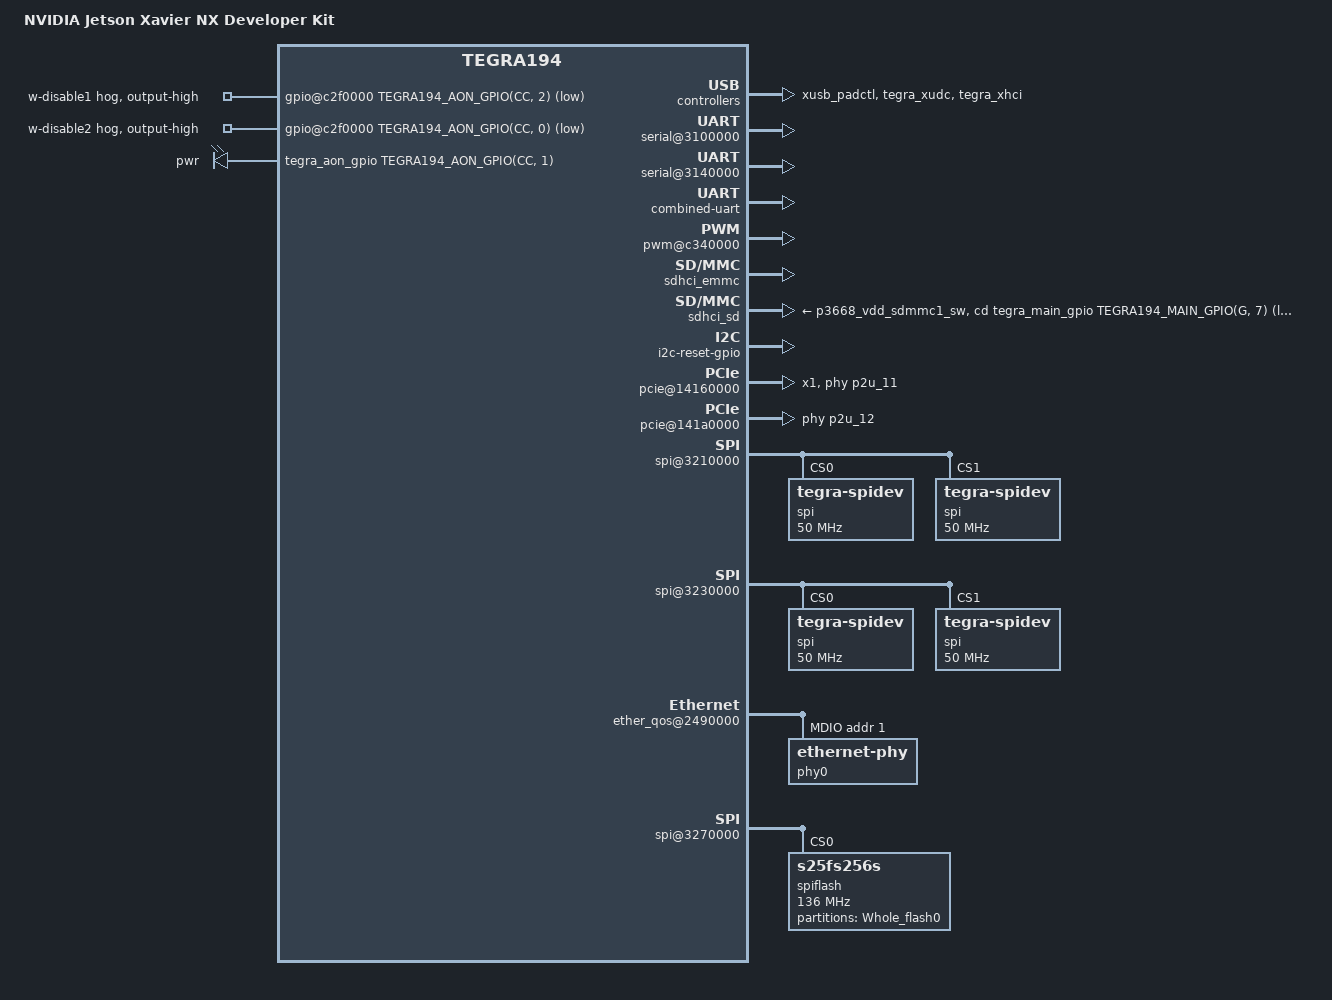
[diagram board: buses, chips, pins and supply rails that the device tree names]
/*
 * Common include DTS file for CVM:P3668-0001 and CVB:P3449-0000 variants.
 *
 * Copyright (c) 2019-2020 , NVIDIA CORPORATION.  All rights reserved.
 *
 * This program is free software; you can redistribute it and/or modify
 * it under the terms of the GNU General Public License as published by
 * the Free Software Foundation; version 2 of the License.
 *
 * This program is distributed in the hope that it will be useful, but WITHOUT
 * ANY WARRANTY; without even the implied warranty of MERCHANTABILITY or
 * FITNESS FOR A PARTICULAR PURPOSE.  See the GNU General Public License for
 * more details.
 */

#include "dt-bindings/extcon-ids.h"
#include "dt-bindings/gpio/tegra194-gpio.h"
#include <dt-bindings/pwm/pwm.h>
#include <tegra194-soc/tegra194-soc-cvm.dtsi>
#include "tegra194-fixed-regulator-p3668.dtsi"
#include <t19x-common-platforms/tegra194-comms.dtsi>
#include <t19x-common-platforms/tegra194-platforms-eqos.dtsi>
#include "tegra194-powermon-p3668.dtsi"
#include "tegra194-power-tree-p3668.dtsi"
#include "tegra194-thermal-p3668.dtsi"
#include <t19x-common-platforms/tegra194-no-pll-aon-clock.dtsi>
#include "tegra194-p3668-pcie-plugin-manager.dtsi"
#include "tegra194-plugin-manager-p3668.dtsi"

/ {
	nvidia,fastboot-usb-vid = <0x0955>;
	nvidia,fastboot-usb-pid = <0xee1e>;
	model = "NVIDIA Jetson Xavier NX Developer Kit";

	chosen {
		bootargs ="console=ttyTCU0,115200";
		board-has-eeprom;
		nvidia,tegra-joint_xpu_rail;
	};

	cpufreq {
		compatible = "nvidia,tegra194-cpufreq";
		status = "okay";
		cpu_emc_map = <1907200 1600000>,
			    <1881600 800000>,
			    <1574400 665000>,
			    <1267200 408000>;
	};

	pmc@c370000 {
		nvidia,invert-interrupt;
	};

        pmc@c360000 {
                 iopad_defaults: iopad-defaults {
                         sdmmc-io-pads {
                                 pins = "sdmmc1-hv", "sdmmc3-hv";
                                 nvidia,enable-voltage-switching;
                         };
                 };
         };

	hdr40_i2c0: i2c@c240000 {
		/* This I2C (GEN2) is routed only to 40-pin hdr
		 * Not being used in Jakku CVM/CVB/Porg-base-board
		 * it seems "ucsi_ccg" for USB-TypeC which is not supported by Jakku */
		bmi160@69 {
			compatible = "bmi,bmi160";
			reg = <0x69>;
			interrupt-parent = <&tegra_aon_gpio>;
			interrupts = <TEGRA194_AON_GPIO(AA, 2) GPIO_ACTIVE_LOW>;
			accelerometer_matrix    = [01 00 00 00 01 00 00 00 01];
			gyroscope_matrix        = [01 00 00 00 01 00 00 00 01];
			accelerometer_delay_us_min = <1250>;
			gyroscope_delay_us_min = <1250>;
			status = "disabled";
		};
	};

	external-connection {
		vbus_id_extcon: extcon@1 {
			compatible = "extcon-gpio-states";
			reg = <0x1>;
			extcon-gpio,name = "VBUS";
			extcon-gpio,cable-states = <
						0x0 0x1
						0x1 0x0>;
			gpios = <&tegra_main_gpio TEGRA194_MAIN_GPIO(Z, 1) 0>;
			extcon-gpio,out-cable-names = <EXTCON_USB EXTCON_USB_HOST EXTCON_NONE>;
			wakeup-source;
			#extcon-cells = <1>;
		};
	};

	xusb_padctl: xusb_padctl@3520000 {
		status = "okay";

		pads {
			usb2 {
				lanes {
					usb2-0 {
						nvidia,function = "xusb";
						status = "okay";
					};
					usb2-1 {
						nvidia,function = "xusb";
						status = "okay";
					};
					usb2-2 {
						nvidia,function = "xusb";
						status = "okay";
					};
				};
			};
			usb3 {
				lanes {
					usb3-2 {
						nvidia,function = "xusb";
						status = "okay";
					};
				};
			};
		};

		ports {
			usb2-0 {
				mode = "otg";
				status = "okay";
			};
			usb2-1 {
				mode = "host";
				status = "okay";
			};
			usb2-2 {
				mode = "host";
				vbus-supply = <&battery_reg>;
				status = "okay";
			};
			usb3-2 {
				nvidia,usb2-companion = <1>;
				status = "okay";
			};
		};
	};

	tegra_xudc: xudc@3550000 {
		extcon-cables = <&vbus_id_extcon 0>;
		extcon-cable-names = "vbus";
		#extcon-cells = <1>;
		phys = <&{/xusb_padctl@3520000/pads/usb2/lanes/usb2-0}>;
		phy-names = "usb2";
		nvidia,xusb-padctl = <&xusb_padctl>;
		nvidia,boost_cpu_freq = <1200>;
		status = "okay";
	};

	tegra_xhci: xhci@3610000 {
		extcon-cables = <&vbus_id_extcon 1>;
		extcon-cable-names = "id";
		#extcon-cells = <1>;
		phys = <&{/xusb_padctl@3520000/pads/usb2/lanes/usb2-0}>,
			<&{/xusb_padctl@3520000/pads/usb2/lanes/usb2-1}>,
			<&{/xusb_padctl@3520000/pads/usb2/lanes/usb2-2}>,
			<&{/xusb_padctl@3520000/pads/usb3/lanes/usb3-2}>;
		phy-names = "usb2-0", "usb2-1", "usb2-2", "usb3-2";
		nvidia,xusb-padctl = <&xusb_padctl>;
		status = "okay";
	};

	/* Below node can be moved to cvb to make decision about enabling/disabling */
	arm-pmu {
		status = "okay";
	};

	power-domain {
		status = "okay";
	};

	interrupt-controller {
		status = "okay";
	};

	mods-simple-bus {
		status = "okay";
	};

	cpuidle {
		compatible = "nvidia,tegra19x-cpuidle";
		status = "okay";
	};

	thermal-zones {
		status = "okay";
	};

	reserved-memory {
		ramoops_carveout {
			status = "okay";
		};
	};

	mttcan@c310000 {
		status = "okay";
		pll_source = "pllc";
		clocks = <&bpmp_clks TEGRA194_CLK_CAN1_CORE>,
			<&bpmp_clks TEGRA194_CLK_CAN1_HOST>,
			<&bpmp_clks TEGRA194_CLK_CAN1>,
			<&bpmp_clks TEGRA194_CLK_PLLC>;
		clock-names = "can_core", "can_host","can", "pllc";
	};

	mttcan@c320000 {
		status = "disabled";
	};

	host1x {
		dpaux@155F0000 {
			status = "okay";
			compatible = "nvidia,tegra194-dpaux3-padctl";
			/delete-property/ power-domains;
			dpaux_default: pinmux@0 {
				dpaux3_pins {
					pins = "dpaux3-3";
					function = "i2c";
				};
			};
		};
	};

	hardwood {
		compatible = "nvidia,denver-hardwood";
		interrupts = <0 24 0x4>;
	};

	pfsd {
		pwm_polarity= <PWM_POLARITY_NORMAL>;
		suspend_state = <0>;
	};

	serial@3100000 {
		compatible = "nvidia,tegra186-hsuart";
		status = "okay";
	};

	serial@3140000 {
		compatible = "nvidia,tegra186-hsuart";
		status = "okay";
	};

	combined-uart {
		console-port;
		combined-uart;
		status = "okay";
	};

	pwm@c340000 {
		status = "okay";
	};

	sdhci_emmc: sdhci@3460000 {
		uhs-mask = <0x0>;
		nvidia,enable-hwcq;
		status = "okay";
	};

	sdhci_sd: sdhci@3400000 {
		mmc-ocr-mask = <0x0>;
		cd-inverted;
		cd-gpios = <&tegra_main_gpio TEGRA194_MAIN_GPIO(G, 7) 0>;
		nvidia,cd-wakeup-capable;
		mmc-ocr-mask = <0>;
		cd-inverted;
		vmmc-supply = <&p3668_vdd_sdmmc1_sw>;
		status = "okay";
	};

	mipical@3990000 {
		status = "okay";
	};

	tegra-hsp@b950000 {
		status = "okay";
	};

	rtcpu@bc00000 {
		status = "okay";
		nvidia,cmd-timeout = <2000>;
	};

	gpio@c2f0000 {
		pex-refclk-sel-low {
			gpio-hog;
			output-low;
			gpios = <TEGRA194_AON_GPIO(AA, 5) 0>;
			label = "pex_refclk_sel_low";
			status = "disabled";
		};

		pex-refclk-sel-high {
			gpio-hog;
			output-high;
			gpios = <TEGRA194_AON_GPIO(AA, 5) 0>;
			label = "pex_refclk_sel_high";
			status = "disabled";
		};
		w-disable1 {
			gpio-hog;
			output-high;
			gpios = <TEGRA194_AON_GPIO(CC, 2) GPIO_ACTIVE_LOW>;
			label = "w-disable1";
			status = "okay";
		};
		w-disable2 {
			gpio-hog;
			output-high;
			gpios = <TEGRA194_AON_GPIO(CC, 0) GPIO_ACTIVE_LOW>;
			label = "w-disable2";
			status = "okay";
		};

//		suspend_gpio: suspend-led-gpio {
//			gpio-hog;
//			output-high;
//			gpio-suspend;
//			suspend-output-low;
//			gpios = <TEGRA194_AON_GPIO(CC, 1) GPIO_ACTIVE_HIGH>;
//			label = "suspend-led-gpio";
//			status = "okay";
//		};

		i2c-reset-gpio {
			gpio-hog;
			output-low;
			gpios = <TEGRA194_AON_GPIO(CC, 1) GPIO_ACTIVE_HIGH>;
			label = "i2c-reset-gpio";
			status = "okay";
		};
	};

	pcie@14160000 {
		status = "okay";

		nvidia,pex-wake = <&tegra_main_gpio TEGRA194_MAIN_GPIO(L, 2)
					GPIO_ACTIVE_HIGH>;
		vddio-pex-ctl-supply = <&p3668_spmic_sd3>;
		nvidia,disable-aspm-states = <0xf>;
		nvidia,enable-power-down;
		nvidia,max-speed = <3>;

		num-lanes = <1>;
		phys = <&p2u_11>;
		phy-names = "pcie-p2u-0";
	};

	pcie@141a0000 {
		status = "okay";

		vddio-pex-ctl-supply = <&p3668_spmic_sd3>;
		nvidia,disable-aspm-states = <0xf>;
		nvidia,enable-power-down;
		nvidia,max-speed = <4>;

		phys = <&p2u_12>,
		       <&p2u_13>,
		       <&p2u_14>,
		       <&p2u_15>,
		       <&p2u_16>,
		       <&p2u_17>,
		       <&p2u_18>,
		       <&p2u_19>;

		phy-names = "pcie-p2u-0", "pcie-p2u-1", "pcie-p2u-2", "pcie-p2u-3",
					"pcie-p2u-4", "pcie-p2u-5", "pcie-p2u-6", "pcie-p2u-7";
	};

	pcie_ep@141a0000 {
		status = "disabled";

		nvidia,disable-aspm-states = <0xf>;

		vddio-pex-ctl-supply = <&p3668_spmic_sd3>;

		phys = <&p2u_12>, <&p2u_13>, <&p2u_14>, <&p2u_15>,
			<&p2u_16>, <&p2u_17>, <&p2u_18>, <&p2u_19>;
		phy-names = "pcie-p2u-0", "pcie-p2u-1", "pcie-p2u-2", "pcie-p2u-3",
				"pcie-p2u-4", "pcie-p2u-5", "pcie-p2u-6", "pcie-p2u-7";

		nvidia,pex-rst-gpio = <&tegra_main_gpio TEGRA194_MAIN_GPIO(GG, 1)
					GPIO_ACTIVE_LOW>;
	};

	eeprom-manager {
		data-size = <0x100>;
		bus@0 {
			i2c-bus = <&gen1_i2c>;
			eeprom@0 {
				slave-address = <0x50>;
				label = "cvm";
			};
		};
	};

	hdr40_i2c1: i2c@31e0000 {
		pinctrl-names = "default";
		pinctrl-0 = <&dpaux_default>;
	};

	host1x {
		dpaux@155F0000 {
			status = "okay";
			compatible = "nvidia,tegra194-dpaux3-padctl";
			dpaux_default: pinmux@0 {
				dpaux3_pins {
					pins = "dpaux3-3";
					function = "i2c";
				};
			};
		};
	};

	dpaux3 {
		compatible = "nvidia,tegra194-dpaux3-pinctrl";
		status = "okay";
	};

	spi@3210000{ /* SPI1 in 40 pin conn */
		status = "okay";
		spi@0 { /* chip select 0 */
			compatible = "tegra-spidev";
			reg = <0x0>;
			spi-max-frequency = <50000000>;
			controller-data {
				nvidia,enable-hw-based-cs;
				nvidia,rx-clk-tap-delay = <0x10>;
				nvidia,tx-clk-tap-delay = <0x0>;
			};
		};
		spi@1 { /* chip select 1 */
			compatible = "tegra-spidev";
			reg = <0x1>;
			spi-max-frequency = <50000000>;
			controller-data {
				nvidia,enable-hw-based-cs;
				nvidia,rx-clk-tap-delay = <0x10>;
				nvidia,tx-clk-tap-delay = <0x0>;
			};
		};
	};

	spi@3230000{ /* SPI3 in 40 pin conn */
		status = "okay";
		spi@0 { /* chip select 0 */
			compatible = "tegra-spidev";
			reg = <0x0>;
			spi-max-frequency = <50000000>;
			controller-data {
				nvidia,enable-hw-based-cs;
				nvidia,rx-clk-tap-delay = <0x10>;
				nvidia,tx-clk-tap-delay = <0x0>;
			};
		};
		spi@1 { /* chips select 1 */
			compatible = "tegra-spidev";
			reg = <0x1>;
			spi-max-frequency = <50000000>;
			controller-data {
				nvidia,enable-hw-based-cs;
				nvidia,rx-clk-tap-delay = <0x10>;
				nvidia,tx-clk-tap-delay = <0x0>;
			};
		};
	};

	ether_qos@2490000 {
		nvidia,phy-reset-gpio = <&tegra_main_gpio TEGRA194_MAIN_GPIO(R, 1) 0>;
		nvidia,phy-reset-post-delay = <224>;
		nvidia,phy-reset-duration = <10000>;
                mdio {
                        compatible = "nvidia,eqos-mdio";
                        #address-cells = <1>;
                        #size-cells = <0>;
                        phy0: ethernet-phy@0 {
                                reg = <1>;
			};
		};
	};

	leds {
		compatible = "gpio-leds";
		status = "okay";
		pwr {
			gpios = <&tegra_aon_gpio TEGRA194_AON_GPIO(CC, 1) GPIO_ACTIVE_HIGH>;
			default-state = "on";
		};
	};


	/* QSPI flash S25FS128SAGNFI103 is controlled by qspi0 */
	spi@3270000 {
		spi-max-frequency = <136000000>;
		status = "okay";
		prod-settings {
			#prod-cells = <3>;
			prod {
				prod = <0x04 0x000000ff 0x10>;
			};
		};
		/* QSPI NOR */
		spiflash@0 {
			#address-cells = <1>;
			#size-cells = <1>;
			compatible = "s25fs256s";
			reg = <0>;
			spi-max-frequency = <136000000>;
			partition@0 {
				label = "Whole_flash0";
				reg = <0x00000000 0x2000000>;	/* size of QSPI-NOR 32MB == 256Mb */
			};
			controller-data {
				nvidia,x1-len-limit = <16>;
				nvidia,x1-bus-speed = <136000000>; /* In Mhz */
				nvidia,x1-dymmy-cycle = <8>;
				nvidia,x4-bus-speed = <136000000>;
				nvidia,x4-dymmy-cycle = <8>;
				nvidia,x4-is-ddr=<0>;
				nvidia,ctrl-bus-clk-ratio = <1>;
			};
		};
	};
	clocks-init {
		compatible = "nvidia,clocks-config";
		status = "okay";
		disable {
			clocks = <&aon_clks TEGRA194_CLK_PLLAON>,
				<&bpmp_clks TEGRA194_CLK_CAN1>,
				<&bpmp_clks TEGRA194_CLK_CAN2>;
		};
	};

	soctherm-oc-event {
		status = "okay";
	};
};

#if LINUX_VERSION >= 414
#include <tegra194-linux-4.14.dtsi>
#endif
